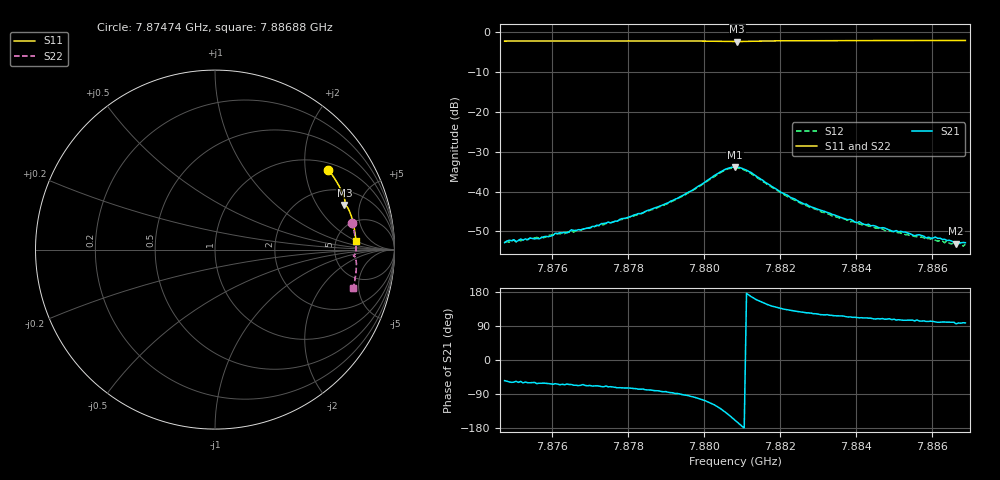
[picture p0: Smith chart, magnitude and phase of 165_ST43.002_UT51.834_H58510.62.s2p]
#  HZ  S  DB  R  50.00
! Rohde & Schwarz Vector Network Analyzer
! Rohde-Schwarz,ZNB20-2Port,1311601062101988,3.16
! Created: UTC 1/12/2023, 6:41:36 PM
! freq[Hz]  db:S11  ang:S11  db:S21  ang:S21  db:S12  ang:S12  db:S22  ang:S22
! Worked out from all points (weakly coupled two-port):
!   201 points, 7.87474 GHz to 7.88688 GHz, reference 50 ohm
!   highest |S21| = -33.86 dB at 7.88081 GHz (marker M1); lowest = -53.1 dB at 7.88663 GHz (marker M2)
!   lowest |S11| = -2.4 dB at 7.88087 GHz (marker M3), VSWR 7.42, Z = 149 + j178 ohm
!   |S11| at or under -10 dB: nowhere
!   |S22| runs from -2.3 to -1.9 dB; largest |S21 - S12| = 0.0013
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7.874745e9  -2.24 35.1  -52.83 -54.4  -52.76 -60.4  -2.19 11.2
7.875169e9  -2.23 34.0  -51.90 -56.5  -52.35 -63.3  -2.17 10.2
7.875473e9  -2.23 33.2  -51.77 -59.6  -51.47 -64.3  -2.16 9.5
7.875655e9  -2.22 32.6  -51.88 -61.3  -51.71 -64.7  -2.16 9.0
7.876079e9  -2.22 31.5  -50.47 -62.6  -50.68 -64.9  -2.15 8.0
7.876807e9  -2.21 29.5  -49.41 -64.8  -49.48 -71.1  -2.12 6.3
7.877717e9  -2.19 27.0  -47.44 -73.4  -47.38 -76.3  -2.11 4.2
7.878808e9  -2.19 24.0  -43.75 -81.4  -43.87 -84.8  -2.09 1.6
7.879658e9  -2.21 21.5  -39.84 -96.4  -39.92 -99.2  -2.10 -0.5
7.880507e9  -2.33 19.4  -34.66 -134.0  -34.82 -137.0  -2.22 -2.4
7.88081e9  -2.35 19.1  -33.86 -159.3  -34.03 -162.5  -2.25 -2.5
7.880871e9  -2.36 19.1  -33.88 -164.5  -34.07 -167.6  -2.25 -2.5
7.881235e9  -2.29 18.6  -35.23 167.3  -35.47 164.0  -2.18 -2.7
7.882266e9  -2.16 15.9  -41.46 131.5  -41.69 126.8  -2.04 -5.1
7.882872e9  -2.14 14.2  -44.00 122.2  -44.23 118.8  -2.02 -6.5
7.883843e9  -2.12 11.5  -46.97 113.8  -47.55 110.9  -1.99 -8.7
7.884874e9  -2.11 8.8  -49.63 108.9  -49.84 106.0  -1.97 -11.1
7.885844e9  -2.09 6.3  -51.65 101.7  -51.99 100.4  -1.96 -13.1
7.886087e9  -2.09 5.7  -51.43 100.4  -52.23 98.8  -1.96 -13.6
7.886633e9  -2.09 4.2  -53.08 95.3  -53.20 94.9  -1.95 -14.8
7.886815e9  -2.08 3.7  -52.78 98.3  -53.71 96.7  -1.95 -15.2
7.886875e9  -2.08 3.6  -52.83 97.8  -53.25 95.6  -1.95 -15.3
